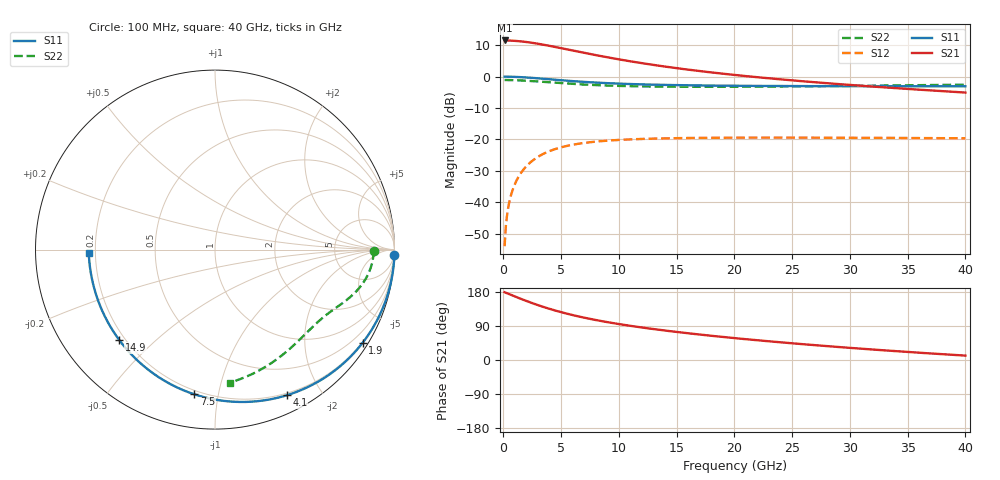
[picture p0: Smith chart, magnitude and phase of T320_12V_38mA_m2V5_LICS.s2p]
! AWR Design Environment (4936) Fri Nov 11 17:04:03 2011
! Ports: 2, Freqs: 400
# GHz S MA R 50
!Freq  MagS11  AngS11  MagS21  AngS21  MagS12  AngS12  MagS22  AngS22
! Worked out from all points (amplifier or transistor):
!   400 points, 100 MHz to 40 GHz, reference 50 ohm
!   highest |S21| = 11.5 dB at 100 MHz (marker M1)
!   |S21| within 3 dB of that: start of sweep to 5.723 GHz
!   unconditionally stable (mu >= 1): 16.93 GHz to end of sweep
!   at 6.7 GHz: K = 0.42, MSG = 14.5 dB, |S12| = -21.3 dB
!   at 20.1 GHz: K = 1.15, MAG = 7.6 dB, |S12| = -19.4 dB
!   at 40 GHz: K = 1.85, MAG = 2.0 dB, |S12| = -19.6 dB
!   lowest NFmin = 0.05 dB at 100 MHz
!   S11 on the Smith chart (normalised r, x): 100 MHz: 0, -66; 1.9 GHz: 0.18, -3.46; 4.1 GHz: 0.18, -1.59; 7.5 GHz: 0.18, -0.85; 14.9 GHz: 0.18, -0.39; 40 GHz: 0.17, -0.01
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0.1  0.9998 -1.7  3.77 178.7  0.002 89.0  0.8841 -0.5
0.2  0.9996 -3.5  3.768 177.5  0.003998 88.0  0.8839 -1.0
0.3  0.9992 -5.2  3.766 176.2  0.005992 87.0  0.8836 -1.6
0.6  0.997 -10.4  3.75 172.5  0.01193 83.9  0.8818 -3.1
1.1  0.9903 -18.9  3.703 166.3  0.0216 79.0  0.8765 -5.6
1.9  0.9729 -32.1  3.579 156.8  0.03604 71.4  0.8627 -9.4
2.4  0.959 -40.0  3.477 151.1  0.04422 67.0  0.8517 -11.6
3  0.9405 -48.9  3.34 144.7  0.05306 62.0  0.837 -14.1
3.6  0.921 -57.3  3.192 138.7  0.06081 57.4  0.8217 -16.3
4.1  0.9047 -63.8  3.066 134.0  0.06648 53.9  0.8091 -18.0
5.3  0.868 -77.8  2.769 123.8  0.07747 46.6  0.7807 -21.5
6.8  0.8294 -92.3  2.433 113.0  0.08707 39.4  0.7516 -25.2
7.5  0.8144 -98.2  2.294 108.5  0.0904 36.6  0.7405 -26.8
8.8  0.7911 -107.6  2.065 101.0  0.09516 32.2  0.724 -29.4
10.1  0.773 -115.6  1.871 94.3  0.09858 28.6  0.7118 -31.9
11.6  0.7569 -123.4  1.683 87.4  0.1014 25.3  0.7018 -34.8
13.4  0.7426 -131.2  1.499 80.0  0.1036 22.1  0.6943 -38.1
14.9  0.7337 -136.6  1.373 74.4  0.1049 19.9  0.6907 -40.9
20.1  0.7156 -150.8  1.06 57.5  0.1069 14.6  0.6903 -50.4
26.7  0.7064 -162.8  0.822 39.8  0.1069 10.9  0.7035 -62.1
33.4  0.7035 -171.5  0.6669 24.6  0.1058 9.0  0.7235 -73.4
40  0.7036 -178.4  0.5578 11.6  0.1045 8.2  0.7453 -83.7
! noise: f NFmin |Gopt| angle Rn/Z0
0.1  0.05465  0.9865  1.008  0.9263
4.5  2.135  0.5797  46.44  0.9124
8.9  3.78  0.464  90.12  0.8744
13.4  5.164  0.4765  121.2  0.8174
17.8  6.297  0.5144  139.8  0.7532
22.2  7.262  0.5495  152.2  0.6904
26.7  8.112  0.5784  161.3  0.637
31.1  8.84  0.6008  168.3  0.6037
35.5  9.492  0.6188  174.1  0.5957
40  10.1  0.634  179.1  0.6205
